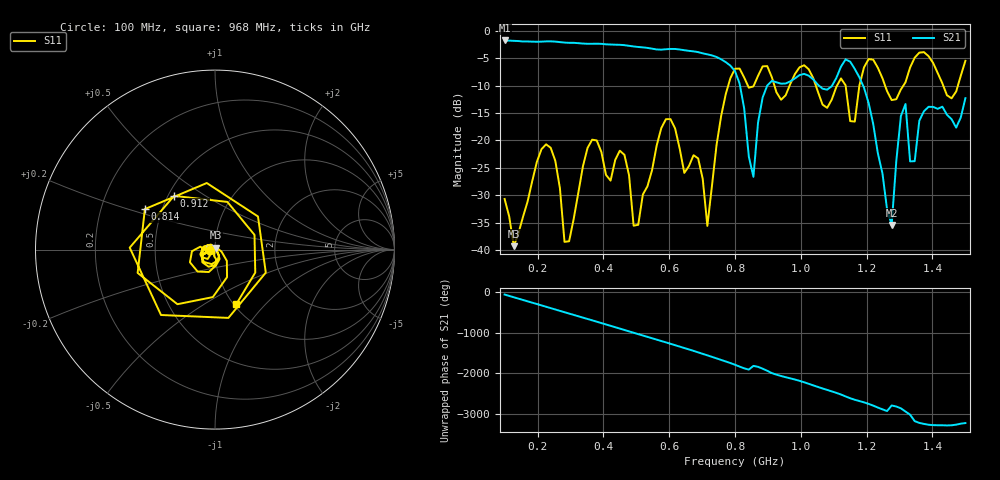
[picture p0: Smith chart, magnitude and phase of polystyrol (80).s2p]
! NanoVNA-App
! Date: 2025-09-26 09:42:30
! Start: 100MHz Stop: 1,5GHz Points: 101
! S-Parameter data: F S11 S21 S12 S22
# Hz S RI R 50
!  Frequency  S11_Real  S11_Imag  S21_Real  S21_Imag  S12_Real  S12_Imag  S22_Real  S22_Imag
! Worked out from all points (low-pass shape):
!   101 points, 100 MHz to 1.5 GHz, reference 50 ohm
!   highest |S21| = -1.79 dB at 100 MHz (marker M1); lowest = -35.4 dB at 1.276 GHz (marker M2)
!   |S21| within 3 dB of the highest: start of sweep to 743.5 MHz
!   lowest |S11| = -39.2 dB at 128 MHz (marker M3), VSWR 1.02, Z = 50.3 + j1.06 ohm
!   |S11| at or under -10 dB: start of sweep to 779.5 MHz; 1.046 GHz to 1.11 GHz (64.58 MHz wide, 5.99 % of centre); 1.256 GHz to 1.312 GHz (55.67 MHz wide, 4.34 % of centre)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
!   S12 and S22 are empty: the file has one direction only
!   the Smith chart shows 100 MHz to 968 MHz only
!   S11 on the Smith chart (normalised r, x): 100 MHz: 0.94, -0.01; 814 MHz: 0.40, +0.23; 912 MHz: 0.54, +0.37; 968 MHz: 1.03, -0.70
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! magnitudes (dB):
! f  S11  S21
! 100 MHz  -30.7  -1.8
! 128 MHz  -39.2  -1.9
! 212 MHz  -21.6  -2.0
! 254 MHz  -23.7  -2.0
! 282 MHz  -38.5  -2.2
! 338 MHz  -24.7  -2.4
! 464 MHz  -22.6  -2.6
! 506 MHz  -35.4  -3.0
! 576 MHz  -17.8  -3.5
! 688 MHz  -23.3  -3.9
! 716 MHz  -35.6  -4.3
! 800 MHz  -6.9  -7.4
! 814 MHz  -6.9  -9.6
! 856 MHz  -10.2  -26.6
! 912 MHz  -8.5  -9.2
! 968 MHz  -9.7  -9.2
! 1.038 GHz  -8.7  -8.9
! 1.178 GHz  -9.9  -8.5
! 1.276 GHz  -12.6  -35.4
! 1.318 GHz  -9.4  -13.4
! 1.346 GHz  -4.9  -23.8
! 1.5 GHz  -5.5  -12.3
